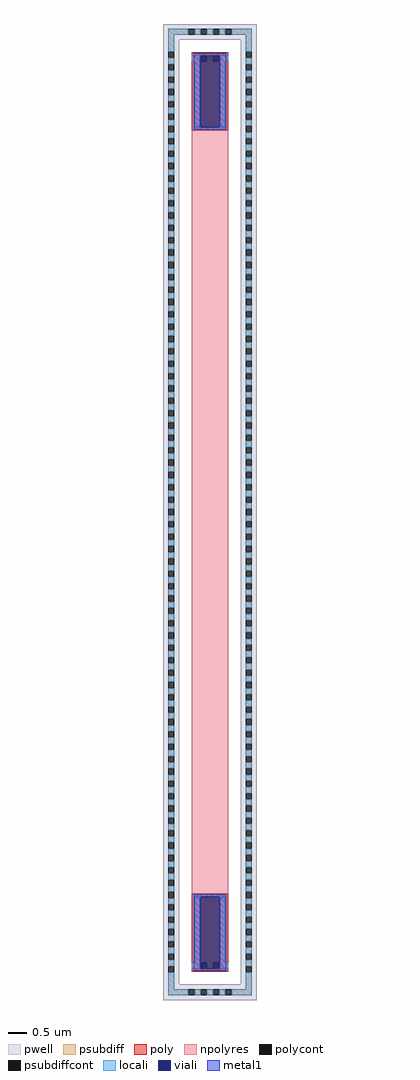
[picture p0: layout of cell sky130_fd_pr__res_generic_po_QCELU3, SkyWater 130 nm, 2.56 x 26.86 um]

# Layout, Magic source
magic
tech sky130A
magscale 1 2
<< pwell >>
rect -256 2600 256 2686
rect -256 -2600 -170 2600
rect 170 -2600 256 2600
rect -256 -2686 256 -2600
<< psubdiff >>
rect -230 2626 -119 2660
rect -85 2626 -51 2660
rect -17 2626 17 2660
rect 51 2626 85 2660
rect 119 2626 230 2660
rect -230 2533 -196 2626
rect 196 2533 230 2626
rect -230 2465 -196 2499
rect -230 2397 -196 2431
rect -230 2329 -196 2363
rect -230 2261 -196 2295
rect -230 2193 -196 2227
rect -230 2125 -196 2159
rect -230 2057 -196 2091
rect -230 1989 -196 2023
rect -230 1921 -196 1955
rect -230 1853 -196 1887
rect -230 1785 -196 1819
rect -230 1717 -196 1751
rect -230 1649 -196 1683
rect -230 1581 -196 1615
rect -230 1513 -196 1547
rect -230 1445 -196 1479
rect -230 1377 -196 1411
rect -230 1309 -196 1343
rect -230 1241 -196 1275
rect -230 1173 -196 1207
rect -230 1105 -196 1139
rect -230 1037 -196 1071
rect -230 969 -196 1003
rect -230 901 -196 935
rect -230 833 -196 867
rect -230 765 -196 799
rect -230 697 -196 731
rect -230 629 -196 663
rect -230 561 -196 595
rect -230 493 -196 527
rect -230 425 -196 459
rect -230 357 -196 391
rect -230 289 -196 323
rect -230 221 -196 255
rect -230 153 -196 187
rect -230 85 -196 119
rect -230 17 -196 51
rect -230 -51 -196 -17
rect -230 -119 -196 -85
rect -230 -187 -196 -153
rect -230 -255 -196 -221
rect -230 -323 -196 -289
rect -230 -391 -196 -357
rect -230 -459 -196 -425
rect -230 -527 -196 -493
rect -230 -595 -196 -561
rect -230 -663 -196 -629
rect -230 -731 -196 -697
rect -230 -799 -196 -765
rect -230 -867 -196 -833
rect -230 -935 -196 -901
rect -230 -1003 -196 -969
rect -230 -1071 -196 -1037
rect -230 -1139 -196 -1105
rect -230 -1207 -196 -1173
rect -230 -1275 -196 -1241
rect -230 -1343 -196 -1309
rect -230 -1411 -196 -1377
rect -230 -1479 -196 -1445
rect -230 -1547 -196 -1513
rect -230 -1615 -196 -1581
rect -230 -1683 -196 -1649
rect -230 -1751 -196 -1717
rect -230 -1819 -196 -1785
rect -230 -1887 -196 -1853
rect -230 -1955 -196 -1921
rect -230 -2023 -196 -1989
rect -230 -2091 -196 -2057
rect -230 -2159 -196 -2125
rect -230 -2227 -196 -2193
rect -230 -2295 -196 -2261
rect -230 -2363 -196 -2329
rect -230 -2431 -196 -2397
rect -230 -2499 -196 -2465
rect 196 2465 230 2499
rect 196 2397 230 2431
rect 196 2329 230 2363
rect 196 2261 230 2295
rect 196 2193 230 2227
rect 196 2125 230 2159
rect 196 2057 230 2091
rect 196 1989 230 2023
rect 196 1921 230 1955
rect 196 1853 230 1887
rect 196 1785 230 1819
rect 196 1717 230 1751
rect 196 1649 230 1683
rect 196 1581 230 1615
rect 196 1513 230 1547
rect 196 1445 230 1479
rect 196 1377 230 1411
rect 196 1309 230 1343
rect 196 1241 230 1275
rect 196 1173 230 1207
rect 196 1105 230 1139
rect 196 1037 230 1071
rect 196 969 230 1003
rect 196 901 230 935
rect 196 833 230 867
rect 196 765 230 799
rect 196 697 230 731
rect 196 629 230 663
rect 196 561 230 595
rect 196 493 230 527
rect 196 425 230 459
rect 196 357 230 391
rect 196 289 230 323
rect 196 221 230 255
rect 196 153 230 187
rect 196 85 230 119
rect 196 17 230 51
rect 196 -51 230 -17
rect 196 -119 230 -85
rect 196 -187 230 -153
rect 196 -255 230 -221
rect 196 -323 230 -289
rect 196 -391 230 -357
rect 196 -459 230 -425
rect 196 -527 230 -493
rect 196 -595 230 -561
rect 196 -663 230 -629
rect 196 -731 230 -697
rect 196 -799 230 -765
rect 196 -867 230 -833
rect 196 -935 230 -901
rect 196 -1003 230 -969
rect 196 -1071 230 -1037
rect 196 -1139 230 -1105
rect 196 -1207 230 -1173
rect 196 -1275 230 -1241
rect 196 -1343 230 -1309
rect 196 -1411 230 -1377
rect 196 -1479 230 -1445
rect 196 -1547 230 -1513
rect 196 -1615 230 -1581
rect 196 -1683 230 -1649
rect 196 -1751 230 -1717
rect 196 -1819 230 -1785
rect 196 -1887 230 -1853
rect 196 -1955 230 -1921
rect 196 -2023 230 -1989
rect 196 -2091 230 -2057
rect 196 -2159 230 -2125
rect 196 -2227 230 -2193
rect 196 -2295 230 -2261
rect 196 -2363 230 -2329
rect 196 -2431 230 -2397
rect 196 -2499 230 -2465
rect -230 -2626 -196 -2533
rect 196 -2626 230 -2533
rect -230 -2660 -119 -2626
rect -85 -2660 -51 -2626
rect -17 -2660 17 -2626
rect 51 -2660 85 -2626
rect 119 -2660 230 -2626
<< psubdiffcont >>
rect -119 2626 -85 2660
rect -51 2626 -17 2660
rect 17 2626 51 2660
rect 85 2626 119 2660
rect -230 2499 -196 2533
rect -230 2431 -196 2465
rect -230 2363 -196 2397
rect -230 2295 -196 2329
rect -230 2227 -196 2261
rect -230 2159 -196 2193
rect -230 2091 -196 2125
rect -230 2023 -196 2057
rect -230 1955 -196 1989
rect -230 1887 -196 1921
rect -230 1819 -196 1853
rect -230 1751 -196 1785
rect -230 1683 -196 1717
rect -230 1615 -196 1649
rect -230 1547 -196 1581
rect -230 1479 -196 1513
rect -230 1411 -196 1445
rect -230 1343 -196 1377
rect -230 1275 -196 1309
rect -230 1207 -196 1241
rect -230 1139 -196 1173
rect -230 1071 -196 1105
rect -230 1003 -196 1037
rect -230 935 -196 969
rect -230 867 -196 901
rect -230 799 -196 833
rect -230 731 -196 765
rect -230 663 -196 697
rect -230 595 -196 629
rect -230 527 -196 561
rect -230 459 -196 493
rect -230 391 -196 425
rect -230 323 -196 357
rect -230 255 -196 289
rect -230 187 -196 221
rect -230 119 -196 153
rect -230 51 -196 85
rect -230 -17 -196 17
rect -230 -85 -196 -51
rect -230 -153 -196 -119
rect -230 -221 -196 -187
rect -230 -289 -196 -255
rect -230 -357 -196 -323
rect -230 -425 -196 -391
rect -230 -493 -196 -459
rect -230 -561 -196 -527
rect -230 -629 -196 -595
rect -230 -697 -196 -663
rect -230 -765 -196 -731
rect -230 -833 -196 -799
rect -230 -901 -196 -867
rect -230 -969 -196 -935
rect -230 -1037 -196 -1003
rect -230 -1105 -196 -1071
rect -230 -1173 -196 -1139
rect -230 -1241 -196 -1207
rect -230 -1309 -196 -1275
rect -230 -1377 -196 -1343
rect -230 -1445 -196 -1411
rect -230 -1513 -196 -1479
rect -230 -1581 -196 -1547
rect -230 -1649 -196 -1615
rect -230 -1717 -196 -1683
rect -230 -1785 -196 -1751
rect -230 -1853 -196 -1819
rect -230 -1921 -196 -1887
rect -230 -1989 -196 -1955
rect -230 -2057 -196 -2023
rect -230 -2125 -196 -2091
rect -230 -2193 -196 -2159
rect -230 -2261 -196 -2227
rect -230 -2329 -196 -2295
rect -230 -2397 -196 -2363
rect -230 -2465 -196 -2431
rect -230 -2533 -196 -2499
rect 196 2499 230 2533
rect 196 2431 230 2465
rect 196 2363 230 2397
rect 196 2295 230 2329
rect 196 2227 230 2261
rect 196 2159 230 2193
rect 196 2091 230 2125
rect 196 2023 230 2057
rect 196 1955 230 1989
rect 196 1887 230 1921
rect 196 1819 230 1853
rect 196 1751 230 1785
rect 196 1683 230 1717
rect 196 1615 230 1649
rect 196 1547 230 1581
rect 196 1479 230 1513
rect 196 1411 230 1445
rect 196 1343 230 1377
rect 196 1275 230 1309
rect 196 1207 230 1241
rect 196 1139 230 1173
rect 196 1071 230 1105
rect 196 1003 230 1037
rect 196 935 230 969
rect 196 867 230 901
rect 196 799 230 833
rect 196 731 230 765
rect 196 663 230 697
rect 196 595 230 629
rect 196 527 230 561
rect 196 459 230 493
rect 196 391 230 425
rect 196 323 230 357
rect 196 255 230 289
rect 196 187 230 221
rect 196 119 230 153
rect 196 51 230 85
rect 196 -17 230 17
rect 196 -85 230 -51
rect 196 -153 230 -119
rect 196 -221 230 -187
rect 196 -289 230 -255
rect 196 -357 230 -323
rect 196 -425 230 -391
rect 196 -493 230 -459
rect 196 -561 230 -527
rect 196 -629 230 -595
rect 196 -697 230 -663
rect 196 -765 230 -731
rect 196 -833 230 -799
rect 196 -901 230 -867
rect 196 -969 230 -935
rect 196 -1037 230 -1003
rect 196 -1105 230 -1071
rect 196 -1173 230 -1139
rect 196 -1241 230 -1207
rect 196 -1309 230 -1275
rect 196 -1377 230 -1343
rect 196 -1445 230 -1411
rect 196 -1513 230 -1479
rect 196 -1581 230 -1547
rect 196 -1649 230 -1615
rect 196 -1717 230 -1683
rect 196 -1785 230 -1751
rect 196 -1853 230 -1819
rect 196 -1921 230 -1887
rect 196 -1989 230 -1955
rect 196 -2057 230 -2023
rect 196 -2125 230 -2091
rect 196 -2193 230 -2159
rect 196 -2261 230 -2227
rect 196 -2329 230 -2295
rect 196 -2397 230 -2363
rect 196 -2465 230 -2431
rect 196 -2533 230 -2499
rect -119 -2660 -85 -2626
rect -51 -2660 -17 -2626
rect 17 -2660 51 -2626
rect 85 -2660 119 -2626
<< poly >>
rect -100 2514 100 2530
rect -100 2480 -51 2514
rect -17 2480 17 2514
rect 51 2480 100 2514
rect -100 2100 100 2480
rect -100 -2480 100 -2100
rect -100 -2514 -51 -2480
rect -17 -2514 17 -2480
rect 51 -2514 100 -2480
rect -100 -2530 100 -2514
<< polycont >>
rect -51 2480 -17 2514
rect 17 2480 51 2514
rect -51 -2514 -17 -2480
rect 17 -2514 51 -2480
<< npolyres >>
rect -100 -2100 100 2100
<< locali >>
rect -230 2626 -119 2660
rect -85 2626 -51 2660
rect -17 2626 17 2660
rect 51 2626 85 2660
rect 119 2626 230 2660
rect -230 2533 -196 2626
rect 196 2533 230 2626
rect -230 2465 -196 2499
rect -100 2512 -51 2514
rect -17 2512 17 2514
rect 51 2512 100 2514
rect -100 2480 -53 2512
rect 53 2480 100 2512
rect -230 2397 -196 2431
rect -230 2329 -196 2363
rect -230 2261 -196 2295
rect -230 2193 -196 2227
rect -230 2125 -196 2159
rect -84 2118 -53 2480
rect 53 2118 84 2480
rect -84 2117 84 2118
rect 196 2465 230 2499
rect 196 2397 230 2431
rect 196 2329 230 2363
rect 196 2261 230 2295
rect 196 2193 230 2227
rect 196 2125 230 2159
rect -230 2057 -196 2091
rect -230 1989 -196 2023
rect -230 1921 -196 1955
rect -230 1853 -196 1887
rect -230 1785 -196 1819
rect -230 1717 -196 1751
rect -230 1649 -196 1683
rect -230 1581 -196 1615
rect -230 1513 -196 1547
rect -230 1445 -196 1479
rect -230 1377 -196 1411
rect -230 1309 -196 1343
rect -230 1241 -196 1275
rect -230 1173 -196 1207
rect -230 1105 -196 1139
rect -230 1037 -196 1071
rect -230 969 -196 1003
rect -230 901 -196 935
rect -230 833 -196 867
rect -230 765 -196 799
rect -230 697 -196 731
rect -230 629 -196 663
rect -230 561 -196 595
rect -230 493 -196 527
rect -230 425 -196 459
rect -230 357 -196 391
rect -230 289 -196 323
rect -230 221 -196 255
rect -230 153 -196 187
rect -230 85 -196 119
rect -230 17 -196 51
rect -230 -51 -196 -17
rect -230 -119 -196 -85
rect -230 -187 -196 -153
rect -230 -255 -196 -221
rect -230 -323 -196 -289
rect -230 -391 -196 -357
rect -230 -459 -196 -425
rect -230 -527 -196 -493
rect -230 -595 -196 -561
rect -230 -663 -196 -629
rect -230 -731 -196 -697
rect -230 -799 -196 -765
rect -230 -867 -196 -833
rect -230 -935 -196 -901
rect -230 -1003 -196 -969
rect -230 -1071 -196 -1037
rect -230 -1139 -196 -1105
rect -230 -1207 -196 -1173
rect -230 -1275 -196 -1241
rect -230 -1343 -196 -1309
rect -230 -1411 -196 -1377
rect -230 -1479 -196 -1445
rect -230 -1547 -196 -1513
rect -230 -1615 -196 -1581
rect -230 -1683 -196 -1649
rect -230 -1751 -196 -1717
rect -230 -1819 -196 -1785
rect -230 -1887 -196 -1853
rect -230 -1955 -196 -1921
rect -230 -2023 -196 -1989
rect -230 -2091 -196 -2057
rect 196 2057 230 2091
rect 196 1989 230 2023
rect 196 1921 230 1955
rect 196 1853 230 1887
rect 196 1785 230 1819
rect 196 1717 230 1751
rect 196 1649 230 1683
rect 196 1581 230 1615
rect 196 1513 230 1547
rect 196 1445 230 1479
rect 196 1377 230 1411
rect 196 1309 230 1343
rect 196 1241 230 1275
rect 196 1173 230 1207
rect 196 1105 230 1139
rect 196 1037 230 1071
rect 196 969 230 1003
rect 196 901 230 935
rect 196 833 230 867
rect 196 765 230 799
rect 196 697 230 731
rect 196 629 230 663
rect 196 561 230 595
rect 196 493 230 527
rect 196 425 230 459
rect 196 357 230 391
rect 196 289 230 323
rect 196 221 230 255
rect 196 153 230 187
rect 196 85 230 119
rect 196 17 230 51
rect 196 -51 230 -17
rect 196 -119 230 -85
rect 196 -187 230 -153
rect 196 -255 230 -221
rect 196 -323 230 -289
rect 196 -391 230 -357
rect 196 -459 230 -425
rect 196 -527 230 -493
rect 196 -595 230 -561
rect 196 -663 230 -629
rect 196 -731 230 -697
rect 196 -799 230 -765
rect 196 -867 230 -833
rect 196 -935 230 -901
rect 196 -1003 230 -969
rect 196 -1071 230 -1037
rect 196 -1139 230 -1105
rect 196 -1207 230 -1173
rect 196 -1275 230 -1241
rect 196 -1343 230 -1309
rect 196 -1411 230 -1377
rect 196 -1479 230 -1445
rect 196 -1547 230 -1513
rect 196 -1615 230 -1581
rect 196 -1683 230 -1649
rect 196 -1751 230 -1717
rect 196 -1819 230 -1785
rect 196 -1887 230 -1853
rect 196 -1955 230 -1921
rect 196 -2023 230 -1989
rect 196 -2091 230 -2057
rect -230 -2159 -196 -2125
rect -230 -2227 -196 -2193
rect -230 -2295 -196 -2261
rect -230 -2363 -196 -2329
rect -230 -2431 -196 -2397
rect -230 -2499 -196 -2465
rect -84 -2119 84 -2117
rect -84 -2480 -53 -2119
rect 53 -2480 84 -2119
rect 196 -2159 230 -2125
rect 196 -2227 230 -2193
rect 196 -2295 230 -2261
rect 196 -2363 230 -2329
rect 196 -2431 230 -2397
rect -100 -2513 -53 -2480
rect 53 -2513 100 -2480
rect -100 -2514 -51 -2513
rect -17 -2514 17 -2513
rect 51 -2514 100 -2513
rect 196 -2499 230 -2465
rect -230 -2626 -196 -2533
rect 196 -2626 230 -2533
rect -230 -2660 -119 -2626
rect -85 -2660 -51 -2626
rect -17 -2660 17 -2626
rect 51 -2660 85 -2626
rect 119 -2660 230 -2626
<< viali >>
rect -53 2480 -51 2512
rect -51 2480 -17 2512
rect -17 2480 17 2512
rect 17 2480 51 2512
rect 51 2480 53 2512
rect -53 2118 53 2480
rect -53 -2480 53 -2119
rect -53 -2513 -51 -2480
rect -51 -2513 -17 -2480
rect -17 -2513 17 -2480
rect 17 -2513 51 -2480
rect 51 -2513 53 -2480
<< metal1 >>
rect -90 2512 90 2526
rect -90 2118 -53 2512
rect 53 2118 90 2512
rect -90 2105 90 2118
rect -90 -2119 90 -2105
rect -90 -2513 -53 -2119
rect 53 -2513 90 -2119
rect -90 -2526 90 -2513
<< properties >>
string FIXED_BBOX -213 -2643 213 2643
<< end >>
